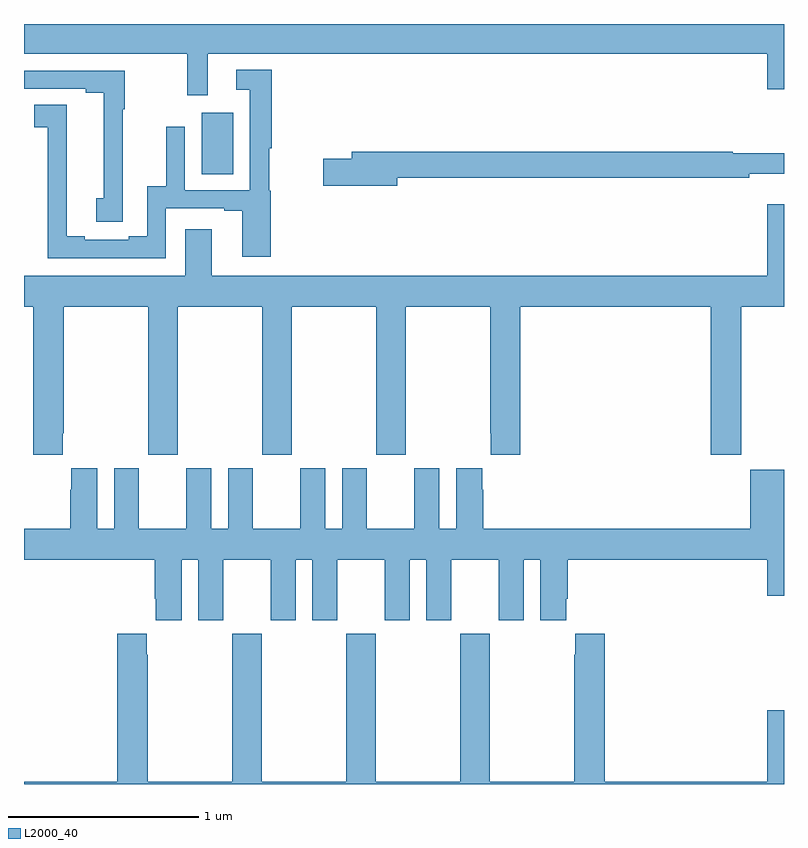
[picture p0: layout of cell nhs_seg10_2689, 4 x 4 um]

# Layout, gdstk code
import gdstk
lib = gdstk.Library(unit=1e-6, precision=1e-09)
def R(c, l, rs):  # rectangles x0, y0, x1, y1
    for r in rs: c.add(gdstk.rectangle(r[:2], r[2:], *l))
def P(c, l, *ps):  # polygons
    for p in ps: c.add(gdstk.Polygon(p, *l))
L2000_40 = (2000, 40)

nhs_seg10_2689 = lib.new_cell('nhs_seg10_2689')
R(nhs_seg10_2689, L2000_40, [(257.936,1271.71,258.1,1272.034)])
P(nhs_seg10_2689, L2000_40, [(257.968,1272.344),(260.912,1272.344),(260.912,1272.156),(261,1272.156),(261,1272.5),(257,1272.5),(257,1272.344),(257.859,1272.344),(257.859,1272.126),(257.968,1272.126)],
  [(257.745,1271.529),(258.053,1271.529),(258.053,1271.517),(258.149,1271.517),(258.149,1271.274),(258.299,1271.274),(258.299,1271.622),(258.29,1271.622),(258.29,1271.846),(258.305,1271.846),(258.305,1272.259),(258.117,1272.259),(258.117,1272.153),(258.189,1272.153),(258.189,1271.625),(257.847,1271.625),(257.847,1271.959),(257.749,1271.959),(257.749,1271.645),(257.649,1271.645),(257.649,1271.384),(257.552,1271.384),(257.552,1271.364),(257.32,1271.364),(257.32,1271.384),(257.224,1271.384),(257.224,1271.665),(257.225,1271.665),(257.225,1272.074),(257.053,1272.074),(257.053,1271.956),(257.126,1271.956),(257.126,1271.268),(257.745,1271.268)],
  [(257.521,1272.052),(257.531,1272.052),(257.531,1272.255),(257,1272.255),(257,1272.159),(257.324,1272.159),(257.324,1272.139),(257.42,1272.139),(257.42,1271.584),(257.381,1271.584),(257.381,1271.46),(257.521,1271.46)],
  [(258.964,1271.692),(260.816,1271.692),(260.816,1271.711),(261,1271.711),(261,1271.821),(260.729,1271.821),(260.729,1271.828),(258.725,1271.828),(258.725,1271.792),(258.576,1271.792),(258.576,1271.65),(258.964,1271.65)],
  [(257,1271.012),(257.048,1271.012),(257.048,1270.233),(257.203,1270.233),(257.203,1270.345),(257.208,1270.345),(257.208,1271.012),(257.653,1271.012),(257.653,1270.233),(257.808,1270.233),(257.808,1271.012),(258.253,1271.012),(258.253,1270.233),(258.408,1270.233),(258.408,1271.012),(258.853,1271.012),(258.853,1270.233),(259.008,1270.233),(259.008,1271.012),(259.453,1271.012),(259.453,1270.345),(259.457,1270.345),(259.457,1270.233),(259.613,1270.233),(259.613,1271.012),(260.615,1271.012),(260.615,1270.233),(260.775,1270.233),(260.775,1271.012),(261,1271.012),(261,1271.551),(260.912,1271.551),(260.912,1271.176),(257.989,1271.176),(257.989,1271.419),(257.849,1271.419),(257.849,1271.176),(257,1271.176)],
  [(257.249,1270.162),(257.249,1270.049),(257.243,1270.049),(257.243,1269.844),(257,1269.844),(257,1269.68),(257.687,1269.68),(257.687,1269.475),(257.693,1269.475),(257.693,1269.363),(257.83,1269.363),(257.83,1269.68),(257.918,1269.68),(257.918,1269.363),(258.049,1269.363),(258.049,1269.68),(258.299,1269.68),(258.299,1269.363),(258.43,1269.363),(258.43,1269.68),(258.518,1269.68),(258.518,1269.363),(258.649,1269.363),(258.649,1269.68),(258.899,1269.68),(258.899,1269.363),(259.03,1269.363),(259.03,1269.68),(259.118,1269.68),(259.118,1269.363),(259.249,1269.363),(259.249,1269.68),(259.499,1269.68),(259.499,1269.363),(259.63,1269.363),(259.63,1269.68),(259.718,1269.68),(259.718,1269.363),(259.855,1269.363),(259.855,1269.475),(259.862,1269.475),(259.862,1269.68),(260.912,1269.68),(260.912,1269.492),(261,1269.492),(261,1270.153),(260.822,1270.153),(260.822,1269.844),(259.418,1269.844),(259.418,1270.049),(259.411,1270.049),(259.411,1270.162),(259.274,1270.162),(259.274,1269.844),(259.186,1269.844),(259.186,1270.162),(259.055,1270.162),(259.055,1269.844),(258.805,1269.844),(258.805,1270.162),(258.674,1270.162),(258.674,1269.844),(258.586,1269.844),(258.586,1270.162),(258.455,1270.162),(258.455,1269.844),(258.205,1269.844),(258.205,1270.162),(258.074,1270.162),(258.074,1269.844),(257.986,1269.844),(257.986,1270.162),(257.855,1270.162),(257.855,1269.844),(257.605,1269.844),(257.605,1270.162),(257.474,1270.162),(257.474,1269.844),(257.386,1269.844),(257.386,1270.162)],
  [(261,1268.887),(260.912,1268.887),(260.912,1268.512),(260.057,1268.512),(260.057,1269.292),(259.901,1269.292),(259.901,1269.179),(259.897,1269.179),(259.897,1268.512),(259.452,1268.512),(259.452,1269.292),(259.297,1269.292),(259.297,1268.512),(258.852,1268.512),(258.852,1269.292),(258.697,1269.292),(258.697,1268.512),(258.252,1268.512),(258.252,1269.292),(258.097,1269.292),(258.097,1268.512),(257.652,1268.512),(257.652,1269.179),(257.647,1269.179),(257.647,1269.292),(257.492,1269.292),(257.492,1268.512),(257,1268.512),(257,1268.5),(261,1268.5)])

lib.write_gds('nhs_seg10_2689.gds')
